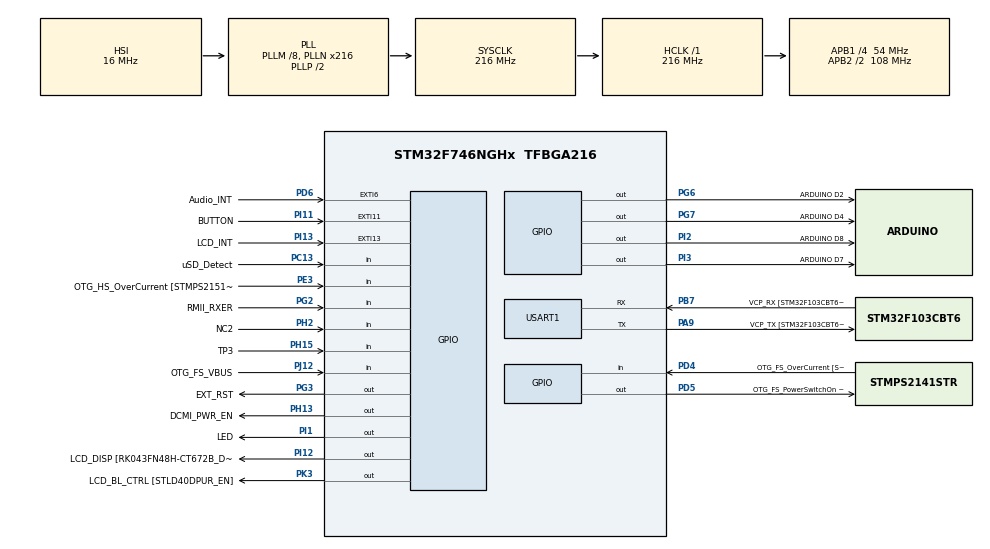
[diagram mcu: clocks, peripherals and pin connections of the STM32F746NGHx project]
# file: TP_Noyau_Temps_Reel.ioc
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FREERTOS.Tasks01=defaultTask,0,128,StartDefaultTask,Default,NULL,Dynamic,NULL,NULL
Mcu.Family=STM32F7
Mcu.Name=STM32F746NGHx
Mcu.Package=TFBGA216
NVIC.PriorityGroup=NVIC_PRIORITYGROUP_4
NVIC.TIM6_DAC_IRQn=true\:15\:0\:false\:false\:true\:false\:false\:true\:true
NVIC.TimeBase=TIM6_DAC_IRQn
NVIC.TimeBaseIP=TIM6
PA0/WKUP.GPIO_Label=ARDUINO A0
PA0/WKUP.GPIO_Mode=GPIO_MODE_ANALOG
PA0/WKUP.GPIO_PuPd=GPIO_NOPULL
PA0/WKUP.Signal=ADCx_IN0
PA1.GPIO_Label=RMII_REF_CLK [LAN8742A-CZ-TR_REFCLK0]
PA1.Signal=ETH_REF_CLK
PA10.GPIO_Label=OTG_FS_ID
PA10.Signal=USB_OTG_FS_ID
PA11.GPIO_Label=OTG_FS_N
PA11.Signal=USB_OTG_FS_DM
PA12.GPIO_Label=OTG_FS_P
PA12.Signal=USB_OTG_FS_DP
PA13.GPIO_Label=SWDIO
PA13.Mode=Serial_Wire
PA13.Signal=SYS_JTMS-SWDIO
PA14.GPIO_Label=SWCLK
PA14.Mode=Serial_Wire
PA14.Signal=SYS_JTCK-SWCLK
PA15.GPIO_Label=ARDUINO PWM/D9
PA15.GPIO_ModeDefaultPP=GPIO_MODE_AF_PP
PA15.GPIO_PuPd=GPIO_NOPULL
PA15.GPIO_Speed=GPIO_SPEED_FREQ_LOW
PA15.Signal=S_TIM2_CH1_ETR
PA2.GPIO_Label=RMII_MDIO [LAN8742A-CZ-TR_MDIO]
PA2.Signal=ETH_MDIO
PA3.GPIO_Label=ULPI_D0 [USB3320C-EZK_D0]
PA3.Signal=USB_OTG_HS_ULPI_D0
PA4.GPIO_Label=DCMI_HSYNC
PA4.Signal=DCMI_HSYNC
PA5.GPIO_Label=ULPI_CLK [USB3320C-EZK_CLKOUT]
PA5.Signal=USB_OTG_HS_ULPI_CK
PA6.Signal=DCMI_PIXCLK
PA7.GPIO_Label=RMII_CRS_DV [LAN8742A-CZ-TR_CRS_DV]
PA7.Signal=ETH_CRS_DV
PA8.GPIO_Label=ARDUINO PWM/D10
PA8.GPIO_ModeDefaultPP=GPIO_MODE_AF_PP
PA8.GPIO_PuPd=GPIO_NOPULL
PA8.GPIO_Speed=GPIO_SPEED_FREQ_LOW
PA8.Signal=S_TIM1_CH1
PA9.GPIO_Label=VCP_TX [STM32F103CBT6_PA3]
PA9.GPIO_Mode=GPIO_MODE_AF_PP
PA9.GPIO_PuPd=GPIO_NOPULL
PA9.GPIO_Speed=GPIO_SPEED_FREQ_LOW
PA9.Mode=Asynchronous
PA9.Signal=USART1_TX
PB0.GPIO_Label=ULPI_D1 [USB3320C-EZK_D1]
PB0.Signal=USB_OTG_HS_ULPI_D1
PB1.GPIO_Label=ULPI_D2 [USB3320C-EZK_D2]
PB1.Signal=USB_OTG_HS_ULPI_D2
PB10.GPIO_Label=ULPI_D3 [USB3320C-EZK_D3]
PB10.Signal=USB_OTG_HS_ULPI_D3
PB11.GPIO_Label=ULPI_D4 [USB3320C-EZK_D4]
PB11.Signal=USB_OTG_HS_ULPI_D4
PB12.GPIO_Label=ULPI_D5 [USB3320C-EZK_D5]
PB12.Signal=USB_OTG_HS_ULPI_D5
PB13.GPIO_Label=ULPI_D6 [USB3320C-EZK_D6]
PB13.Signal=USB_OTG_HS_ULPI_D6
PB14.GPIO_Label=ARDUINO MISO/D12
PB14.GPIO_Mode=GPIO_MODE_AF_PP
PB14.GPIO_PuPd=GPIO_NOPULL
PB14.GPIO_Speed=GPIO_SPEED_FREQ_LOW
PB14.Signal=SPI2_MISO
PB15.GPIO_Label=ARDUINO MOSI/PWM/D11
PB15.GPIO_Mode=GPIO_MODE_AF_PP
PB15.GPIO_PuPd=GPIO_NOPULL
PB15.GPIO_Speed=GPIO_SPEED_FREQ_LOW
PB15.Signal=SPI2_MOSI
PB2.Signal=QUADSPI_CLK
PB3.GPIO_Label=SWO
PB3.Signal=SYS_JTDO-SWO
PB4.GPIO_Label=ARDUINO PWM/D3
PB4.GPIO_ModeDefaultPP=GPIO_MODE_AF_PP
PB4.GPIO_PuPd=GPIO_NOPULL
PB4.GPIO_Speed=GPIO_SPEED_FREQ_LOW
PB4.Signal=S_TIM3_CH1
PB5.GPIO_Label=ULPI_D7 [USB3320C-EZK_D7]
PB5.Signal=USB_OTG_HS_ULPI_D7
PB6.GPIO_Label=QSPI_NCS [N25Q128A13EF840E_S]
PB6.Signal=QUADSPI_BK1_NCS
PB7.GPIO_Label=VCP_RX [STM32F103CBT6_PA2]
PB7.GPIO_Mode=GPIO_MODE_AF_PP
PB7.GPIO_PuPd=GPIO_NOPULL
PB7.GPIO_Speed=GPIO_SPEED_FREQ_LOW
PB7.Mode=Asynchronous
PB7.Signal=USART1_RX
PB8.GPIO_Label=ARDUINO SCL/D15
PB8.GPIO_Mode=GPIO_MODE_AF_OD
PB8.GPIO_PuPd=GPIO_NOPULL
PB8.GPIO_Speed=GPIO_SPEED_FREQ_LOW
PB8.Signal=I2C1_SCL
PB9.GPIO_Label=ARDUINO SDA/D14
PB9.GPIO_Mode=GPIO_MODE_AF_OD
PB9.GPIO_PuPd=GPIO_NOPULL
PB9.GPIO_Speed=GPIO_SPEED_FREQ_LOW
PB9.Signal=I2C1_SDA
PC0.GPIO_Label=ULPI_STP [USB3320C-EZK_STP]
PC0.Signal=USB_OTG_HS_ULPI_STP
PC1.GPIO_Label=RMII_MDC [LAN8742A-CZ-TR_MDC]
PC1.Signal=ETH_MDC
PC10.GPIO_Label=SDMMC_D2
PC10.Signal=SDMMC1_D2
PC11.GPIO_Label=SDMMC_D3
PC11.Signal=SDMMC1_D3
PC12.GPIO_Label=SDMMC_CK
PC12.Signal=SDMMC1_CK
PC13.GPIO_Label=uSD_Detect
PC13.Signal=GPIO_Input
PC14/OSC32_IN.GPIO_Label=RCC_OSC32_IN
PC14/OSC32_IN.Signal=RCC_OSC32_IN
PC15/OSC32_OUT.GPIO_Label=RCC_OSC32_OUT
PC15/OSC32_OUT.Signal=RCC_OSC32_OUT
PC2.GPIO_Label=ULPI_DIR [USB3320C-EZK_DIR]
PC2.Signal=USB_OTG_HS_ULPI_DIR
PC3.GPIO_Label=FMC_SDCKE0 [MT48LC4M32B2B5-6A_CKE]
PC3.Signal=FMC_SDCKE0
PC4.GPIO_Label=RMII_RXD0 [LAN8742A-CZ-TR_RXD0]
PC4.Signal=ETH_RXD0
PC5.GPIO_Label=RMII_RXD1 [LAN8742A-CZ-TR_RXD1]
PC5.Signal=ETH_RXD1
PC6.GPIO_Label=ARDUINO TX/D1
PC6.Signal=USART6_TX
PC7.GPIO_Label=ARDUINO RX/D0
PC7.Signal=USART6_RX
PC8.Signal=SDMMC1_D0
PC9.Signal=SDMMC1_D1
PD0.GPIO_Label=FMC_D2 [MT48LC4M32B2B5-6A_DQ2]
PD0.Signal=FMC_D2_DA2
PD1.GPIO_Label=FMC_D3 [MT48LC4M32B2B5-6A_DQ3]
PD1.Signal=FMC_D3_DA3
PD10.GPIO_Label=FMC_D15 [MT48LC4M32B2B5-6A_DQ15]
PD10.Signal=FMC_D15_DA15
PD11.GPIO_Label=QSPI_D0 [N25Q128A13EF840E_DQ0]
PD11.Signal=QUADSPI_BK1_IO0
PD12.GPIO_Label=QSPI_D1 [N25Q128A13EF840E_DQ1]
PD12.Signal=QUADSPI_BK1_IO1
PD13.GPIO_Label=QSPI_D3 [N25Q128A13EF840E_DQ3]
PD13.Signal=QUADSPI_BK1_IO3
PD14.GPIO_Label=FMC_D0 [MT48LC4M32B2B5-6A_DQ0]
PD14.Signal=FMC_D0_DA0
PD15.GPIO_Label=FMC_D1 [MT48LC4M32B2B5-6A_DQ1]
PD15.Signal=FMC_D1_DA1
PD2.GPIO_Label=SDMMC_D0
PD2.Signal=SDMMC1_CMD
PD3.GPIO_Label=DCMI_D5
PD3.Signal=DCMI_D5
PD4.GPIO_Label=OTG_FS_OverCurrent [STMPS2141STR_Fault]
PD4.Signal=GPIO_Input
PD5.GPIO_Label=OTG_FS_PowerSwitchOn [STMPS2141STR_EN]
PD5.PinState=GPIO_PIN_SET
PD5.Signal=GPIO_Output
PD6.GPIO_Label=Audio_INT
PD6.GPIO_ModeDefaultEXTI=GPIO_MODE_EVT_RISING
PD6.Signal=GPXTI6
PD7.GPIO_Label=SPDIF_RX0 [74LVC1G04SE_4]
PD7.Signal=SPDIFRX_IN0
PD8.GPIO_Label=FMC_D13 [MT48LC4M32B2B5-6A_DQ13]
PD8.Signal=FMC_D13_DA13
PD9.GPIO_Label=FMC_D14 [MT48LC4M32B2B5-6A_DQ14]
PD9.Signal=FMC_D14_DA14
PE0.GPIO_Label=FMC_NBL0 [MT48LC4M32B2B5-6A_DQM0]
PE0.Signal=FMC_NBL0
PE1.GPIO_Label=FMC_NBL1 [MT48LC4M32B2B5-6A_DQM1]
PE1.Signal=FMC_NBL1
PE10.GPIO_Label=FMC_D7 [MT48LC4M32B2B5-6A_DQ7]
PE10.Signal=FMC_D7_DA7
PE11.GPIO_Label=FMC_D8 [MT48LC4M32B2B5-6A_DQ8]
PE11.Signal=FMC_D8_DA8
PE12.GPIO_Label=FMC_D9 [MT48LC4M32B2B5-6A_DQ9]
PE12.Signal=FMC_D9_DA9
PE13.GPIO_Label=FMC_D10 [MT48LC4M32B2B5-6A_DQ10]
PE13.Signal=FMC_D10_DA10
PE14.GPIO_Label=FMC_D11 [MT48LC4M32B2B5-6A_DQ11]
PE14.Signal=FMC_D11_DA11
PE15.GPIO_Label=FMC_D12 [MT48LC4M32B2B5-6A_DQ12]
PE15.Signal=FMC_D12_DA12
PE2.GPIO_Label=QSPI_D2 [N25Q128A13EF840E_DQ2]
PE2.Signal=QUADSPI_BK1_IO2
PE3.GPIO_Label=OTG_HS_OverCurrent [STMPS2151STR_FAULT]
PE3.Signal=GPIO_Input
PE4.GPIO_Label=LCD_B0 [RK043FN48H-CT672B_B0]
PE4.Signal=LTDC_B0
PE5.GPIO_Label=DCMI_D6
PE5.Signal=DCMI_D6
PE6.GPIO_Label=DCMI_D7
PE6.Signal=DCMI_D7
PE7.GPIO_Label=FMC_D4 [MT48LC4M32B2B5-6A_DQ4]
PE7.Signal=FMC_D4_DA4
PE8.GPIO_Label=FMC_D5 [MT48LC4M32B2B5-6A_DQ5]
PE8.Signal=FMC_D5_DA5
PE9.GPIO_Label=FMC_D6 [MT48LC4M32B2B5-6A_DQ6]
PE9.Signal=FMC_D6_DA6
PF0.GPIO_Label=FMC_A0 [MT48LC4M32B2B5-6A_A0]
PF0.Signal=FMC_A0
PF1.GPIO_Label=FMC_A1 [MT48LC4M32B2B5-6A_A1]
PF1.Signal=FMC_A1
PF10.GPIO_Label=ARDUINO A1
PF10.GPIO_Mode=GPIO_MODE_ANALOG
PF10.GPIO_PuPd=GPIO_NOPULL
PF10.Signal=ADC3_IN8
PF11.GPIO_Label=FMC_SDNRAS [MT48LC4M32B2B5-6A_RAS]
PF11.Signal=FMC_SDNRAS
PF12.GPIO_Label=FMC_A6 [MT48LC4M32B2B5-6A_A6]
PF12.Signal=FMC_A6
PF13.GPIO_Label=FMC_A7 [MT48LC4M32B2B5-6A_A7]
PF13.Signal=FMC_A7
PF14.GPIO_Label=FMC_A8 [MT48LC4M32B2B5-6A_A8]
PF14.Signal=FMC_A8
PF15.GPIO_Label=FMC_A9 [MT48LC4M32B2B5-6A_A9]
PF15.Signal=FMC_A9
PF2.GPIO_Label=FMC_A2 [MT48LC4M32B2B5-6A_A2]
PF2.Signal=FMC_A2
PF3.GPIO_Label=FMC_A3 [MT48LC4M32B2B5-6A_A3]
PF3.Signal=FMC_A3
PF4.GPIO_Label=FMC_A4 [MT48LC4M32B2B5-6A_A4]
PF4.Signal=FMC_A4
PF5.GPIO_Label=FMC_A5 [MT48LC4M32B2B5-6A_A5]
PF5.Signal=FMC_A5
PF6.GPIO_Label=ARDUINO A5
PF6.GPIO_Mode=GPIO_MODE_ANALOG
PF6.GPIO_PuPd=GPIO_NOPULL
PF6.Signal=ADC3_IN4
PF7.GPIO_Label=ARDUINO A4
PF7.GPIO_Mode=GPIO_MODE_ANALOG
PF7.GPIO_PuPd=GPIO_NOPULL
PF7.Signal=ADC3_IN5
PF8.GPIO_Label=ARDUINO A3
PF8.GPIO_Mode=GPIO_MODE_ANALOG
PF8.GPIO_PuPd=GPIO_NOPULL
PF8.Signal=ADC3_IN6
PF9.GPIO_Label=ARDUINO A2
PF9.GPIO_Mode=GPIO_MODE_ANALOG
PF9.GPIO_PuPd=GPIO_NOPULL
PF9.Signal=ADC3_IN7
PG0.GPIO_Label=FMC_A10 [MT48LC4M32B2B5-6A_A10]
PG0.Signal=FMC_A10
PG1.GPIO_Label=FMC_A11 [MT48LC4M32B2B5-6A_A11]
PG1.Signal=FMC_A11
PG10.GPIO_Label=SAI2_SDB [WM8994ECS/R_ADCDAT1]
PG10.Signal=SAI2_SD_B
PG11.GPIO_Label=RMII_TX_EN [LAN8742A-CZ-TR_TXEN]
PG11.Signal=ETH_TX_EN
PG12.GPIO_Label=LCD_B4 [RK043FN48H-CT672B_B4]
PG12.Signal=LTDC_B4
PG13.GPIO_Label=RMII_TXD0 [LAN8742A-CZ-TR_TXD0]
PG13.Signal=ETH_TXD0
PG14.GPIO_Label=RMII_TXD1 [LAN8742A-CZ-TR_TXD1]
PG14.Signal=ETH_TXD1
PG15.GPIO_Label=FMC_SDNCAS [MT48LC4M32B2B5-6A_CAS]
PG15.Signal=FMC_SDNCAS
PG2.GPIO_Label=RMII_RXER
PG2.Signal=GPIO_Input
PG3.GPIO_Label=EXT_RST
PG3.Signal=GPIO_Output
PG4.GPIO_Label=FMC_BA0 [MT48LC4M32B2B5-6A_BA0]
PG4.Signal=FMC_A14_BA0
PG5.GPIO_Label=FMC_BA1 [MT48LC4M32B2B5-6A_BA1]
PG5.Signal=FMC_A15_BA1
PG6.GPIO_Label=ARDUINO D2
PG6.Signal=GPIO_Output
PG7.GPIO_Label=ARDUINO D4
PG7.Signal=GPIO_Output
PG8.GPIO_Label=FMC_SDCLK [MT48LC4M32B2B5-6A_CLK]
PG8.Signal=FMC_SDCLK
PG9.GPIO_Label=DCMI_VSYNC
PG9.Signal=DCMI_VSYNC
PH0/OSC_IN.GPIO_Label=OSC_25M [NZ2520SB-25.00M_OUT]
PH0/OSC_IN.Mode=HSE-External-Oscillator
PH0/OSC_IN.Signal=RCC_OSC_IN
PH1/OSC_OUT.Mode=HSE-External-Oscillator
PH1/OSC_OUT.Signal=RCC_OSC_OUT
PH10.GPIO_Label=DCMI_D1
PH10.Signal=DCMI_D1
PH11.GPIO_Label=DCMI_D2
PH11.Signal=DCMI_D2
PH12.GPIO_Label=DCMI_D3
PH12.Signal=DCMI_D3
PH13.GPIO_Label=DCMI_PWR_EN
PH13.Signal=GPIO_Output
PH14.GPIO_Label=DCMI_D4
PH14.Signal=DCMI_D4
PH15.GPIO_Label=TP3
PH15.Signal=GPIO_Input
PH2.GPIO_Label=NC2
PH2.Signal=GPIO_Input
PH3.GPIO_Label=FMC_SDNE0 [MT48LC4M32B2B5-6A_CS]
PH3.Signal=FMC_SDNE0
PH4.GPIO_Label=ULPI_NXT [USB3320C-EZK_NXT]
PH4.Signal=USB_OTG_HS_ULPI_NXT
PH5.GPIO_Label=FMC_SDNME [MT48LC4M32B2B5-6A_WE]
PH5.Signal=FMC_SDNWE
PH6.GPIO_Label=ARDUINO PWM/D6
PH6.Signal=S_TIM12_CH1
PH7.GPIO_Label=LCD_SCL [RK043FN48H-CT672B_SCL]
PH7.Signal=I2C3_SCL
PH8.GPIO_Label=LCD_SDA [RK043FN48H-CT672B_SDA]
PH8.Signal=I2C3_SDA
PH9.GPIO_Label=DCMI_D0
PH9.Signal=DCMI_D0
PI0.GPIO_Label=ARDUINO PWM/CS/D5
PI0.GPIO_ModeDefaultPP=GPIO_MODE_AF_PP
PI0.GPIO_PuPd=GPIO_NOPULL
PI0.GPIO_Speed=GPIO_SPEED_FREQ_LOW
PI0.Signal=S_TIM5_CH4
PI1.GPIO_Label=LED
PI1.Signal=GPIO_Output
PI10.GPIO_Label=LCD_HSYNC [RK043FN48H-CT672B_HSYNC]
PI10.Signal=LTDC_HSYNC
PI11.GPIO_Label=BUTTON
PI11.Signal=GPXTI11
PI12.GPIO_Label=LCD_DISP [RK043FN48H-CT672B_DISP] 
PI12.Signal=GPIO_Output
PI13.GPIO_Label=LCD_INT
PI13.GPIO_ModeDefaultEXTI=GPIO_MODE_EVT_RISING
PI13.Signal=GPXTI13
PI14.GPIO_Label=LCD_CLK [RK043FN48H-CT672B_CLK]
PI14.Signal=LTDC_CLK
PI15.GPIO_Label=LCD_R0 [RK043FN48H-CT672B_R0]
PI15.Signal=LTDC_R0
PI2.GPIO_Label=ARDUINO D8
PI2.Signal=GPIO_Output
PI3.GPIO_Label=ARDUINO D7
PI3.Signal=GPIO_Output
PI4.GPIO_Label=SAI2_MCLKA [WM8994ECS/R_MCLK1]
PI4.Signal=SAI2_MCLK_A
PI5.GPIO_Label=SAI2_SCKA [WM8994ECS/R_BCLK1]
PI5.Signal=SAI2_SCK_A
PI6.GPIO_Label=SAI2_SDA [WM8994ECS/R_DACDAT1]
PI6.Signal=SAI2_SD_A
PI7.GPIO_Label=SAI2_FSA [WM8994ECS/R_LRCLK1]
PI7.Signal=SAI2_FS_A
PI8.GPIO_Label=NC1 [TP2]
PI8.Signal=RTC_TS
PI9.GPIO_Label=LCD_VSYNC [RK043FN48H-CT672B_VSYNC]
PI9.Signal=LTDC_VSYNC
PJ0.GPIO_Label=LCD_R1 [RK043FN48H-CT672B_R1]
PJ0.Signal=LTDC_R1
PJ1.GPIO_Label=LCD_R2 [RK043FN48H-CT672B_R2]
PJ1.Signal=LTDC_R2
PJ10.GPIO_Label=LCD_G3 [RK043FN48H-CT672B_G3]
PJ10.Signal=LTDC_G3
PJ11.GPIO_Label=LCD_G4 [RK043FN48H-CT672B_G4]
PJ11.Signal=LTDC_G4
PJ12.GPIO_Label=OTG_FS_VBUS
PJ12.Signal=GPIO_Input
PJ13.GPIO_Label=LCD_B1 [RK043FN48H-CT672B_B1]
PJ13.Signal=LTDC_B1
PJ14.GPIO_Label=LCD_B2 [RK043FN48H-CT672B_B2]
PJ14.Signal=LTDC_B2
PJ15.GPIO_Label=LCD_B3 [RK043FN48H-CT672B_B3]
PJ15.Signal=LTDC_B3
PJ2.GPIO_Label=LCD_R3 [RK043FN48H-CT672B_R3]
PJ2.Signal=LTDC_R3
PJ3.GPIO_Label=LCD_R4 [RK043FN48H-CT672B_R4]
PJ3.Signal=LTDC_R4
PJ4.GPIO_Label=LCD_R5 [RK043FN48H-CT672B_R5]
PJ4.Signal=LTDC_R5
PJ5.GPIO_Label=LCD_R6 [RK043FN48H-CT672B_R6]
PJ5.Signal=LTDC_R6
PJ6.GPIO_Label=LCD_R7 [RK043FN48H-CT672B_R7]
PJ6.Signal=LTDC_R7
PJ7.GPIO_Label=LCD_G0 [RK043FN48H-CT672B_G0]
PJ7.Signal=LTDC_G0
PJ8.GPIO_Label=LCD_G1 [RK043FN48H-CT672B_G1]
PJ8.Signal=LTDC_G1
PJ9.GPIO_Label=LCD_G2 [RK043FN48H-CT672B_G2]
PJ9.Signal=LTDC_G2
PK0.GPIO_Label=LCD_G5 [RK043FN48H-CT672B_G5]
PK0.Signal=LTDC_G5
PK1.GPIO_Label=LCD_G6 [RK043FN48H-CT672B_G6]
PK1.Signal=LTDC_G6
PK2.GPIO_Label=LCD_G7 [RK043FN48H-CT672B_G7]
PK2.Signal=LTDC_G7
PK3.GPIO_Label=LCD_BL_CTRL [STLD40DPUR_EN]
PK3.Signal=GPIO_Output
PK4.GPIO_Label=LCD_B5 [RK043FN48H-CT672B_B5]
PK4.Signal=LTDC_B5
PK5.GPIO_Label=LCD_B6 [RK043FN48H-CT672B_B6]
PK5.Signal=LTDC_B6
PK6.GPIO_Label=LCD_B7 [RK043FN48H-CT672B_B7]
PK6.Signal=LTDC_B7
PK7.GPIO_Label=LCD_DE [RK043FN48H-CT672B_DE]
PK7.Signal=LTDC_DE
ProjectManager.HeapSize=0x200
ProjectManager.StackSize=0x400
ProjectManager.TargetToolchain=STM32CubeIDE
RCC.AHBFreq_Value=216000000
RCC.APB1CLKDivider=RCC_HCLK_DIV4
RCC.APB1Freq_Value=54000000
RCC.APB1TimFreq_Value=108000000
RCC.APB2CLKDivider=RCC_HCLK_DIV2
RCC.APB2Freq_Value=108000000
RCC.APB2TimFreq_Value=216000000
RCC.CortexFreq_Value=216000000
RCC.HCLKFreq_Value=216000000
RCC.HSE_VALUE=25000000
RCC.HSI_VALUE=16000000
RCC.LSE_VALUE=32768
RCC.PLLM=8
RCC.PLLN=216
RCC.PLLSourceVirtual=RCC_PLLSOURCE_HSI
RCC.SYSCLKFreq_VALUE=216000000
RCC.SYSCLKSource=RCC_SYSCLKSOURCE_PLLCLK
RCC.USBFreq_Value=216000000
RCC.VCOOutputFreq_Value=432000000
SH.ADCx_IN0.0=ADC3_IN0
SH.FMC_A0.0=FMC_A0
SH.FMC_A1.0=FMC_A1
SH.FMC_A10.0=FMC_A10
SH.FMC_A11.0=FMC_A11
SH.FMC_A14_BA0.0=FMC_BA0
SH.FMC_A15_BA1.0=FMC_BA1
SH.FMC_A2.0=FMC_A2
SH.FMC_A3.0=FMC_A3
SH.FMC_A4.0=FMC_A4
SH.FMC_A5.0=FMC_A5
SH.FMC_A6.0=FMC_A6
SH.FMC_A7.0=FMC_A7
SH.FMC_A8.0=FMC_A8
SH.FMC_A9.0=FMC_A9
SH.FMC_D0_DA0.0=FMC_D0
SH.FMC_D10_DA10.0=FMC_D10
SH.FMC_D11_DA11.0=FMC_D11
SH.FMC_D12_DA12.0=FMC_D12
SH.FMC_D13_DA13.0=FMC_D13
SH.FMC_D14_DA14.0=FMC_D14
SH.FMC_D15_DA15.0=FMC_D15
SH.FMC_D1_DA1.0=FMC_D1
SH.FMC_D2_DA2.0=FMC_D2
SH.FMC_D3_DA3.0=FMC_D3
SH.FMC_D4_DA4.0=FMC_D4
SH.FMC_D5_DA5.0=FMC_D5
SH.FMC_D6_DA6.0=FMC_D6
SH.FMC_D7_DA7.0=FMC_D7
SH.FMC_D8_DA8.0=FMC_D8
SH.FMC_D9_DA9.0=FMC_D9
SH.FMC_NBL0.0=FMC_NBL0
SH.FMC_NBL1.0=FMC_NBL1
SH.FMC_SDCLK.0=FMC_SDCLK
SH.FMC_SDNCAS.0=FMC_SDNCAS
SH.FMC_SDNRAS.0=FMC_SDNRAS
SH.FMC_SDNWE.0=FMC_SDNWE
SH.S_TIM12_CH1.0=TIM12_CH1
SH.S_TIM1_CH1.0=TIM1_CH1
SH.S_TIM2_CH1_ETR.0=TIM2_CH1
SH.S_TIM3_CH1.0=TIM3_CH1
SH.S_TIM5_CH4.0=TIM5_CH4
USART1.VirtualMode-Asynchronous=VM_ASYNC
VP_FREERTOS_VS_CMSIS_V1.Mode=CMSIS_V1
VP_SYS_VS_tim6.Mode=TIM6
board=STM32F746G-DISCO

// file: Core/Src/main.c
/* USER CODE BEGIN Header */
/**
 ******************************************************************************
 * @file           : main.c
 * @brief          : Main program body
 ******************************************************************************
 * @attention
 *
 * Copyright (c) 2024 STMicroelectronics.
 * All rights reserved.
 *
 * This software is licensed under terms that can be found in the LICENSE file
 * in the root directory of this software component.
 * If no LICENSE file comes with this software, it is provided AS-IS.
 *
 ******************************************************************************
 */
/* USER CODE END Header */
#include "main.h"
#include "cmsis_os.h"
#include "usart.h"
#include "gpio.h"

void SystemClock_Config(void);
void MX_FREERTOS_Init(void);

/* USER CODE BEGIN 0 */
// Déclaration d'une variable globale pour indiquer la réception de données UART
uint8_t uart_rx_flag = 0;

// Fonction de sortie de caractères utilisée par HAL pour transmettre des caractères sur l'UART
int __io_putchar(int ch) {
	// Transmet le caractère sur l'UART1 avec HAL_UART_Transmit
	HAL_UART_Transmit(&huart1, (uint8_t *)&ch, 1, HAL_MAX_DELAY);
	return ch;
}

// Fonction de rappel appelée lorsque la réception UART est terminée
void HAL_UART_RxCpltCallback(UART_HandleTypeDef *huart){
	// Met à jour le drapeau pour indiquer que des données ont été reçues
	uart_rx_flag = 1;
}

// Tâche pour faire clignoter une LED à intervalles réguliers
void task_blink_led(void * unused) {
	char *text = "LED ON\r\n";
	//int Val=0;
	while (1) {
		// Alterne l'état de la LED avec HAL_GPIO_TogglePin
		HAL_GPIO_TogglePin(LED_GPIO_Port, LED_Pin);

		// Vérifie l'état de la LED pour déterminer le texte à afficher
		if (HAL_GPIO_ReadPin(LED_GPIO_Port, LED_Pin) == GPIO_PIN_SET) {
			text = "LED ON\r\n";
		} else {
			text = "LED OFF\r\n";
		}

		// Affiche le texte sur l'UART
		for (int i = 0; text[i] != '\0'; i++) {
			__io_putchar(text[i]);
		}
		portTICK_PERIOD_MS()
		// Suspend l'exécution de la tâche pendant 1000 millisecondes
		vTaskDelay(1000);
	}
}

/* USER CODE END 0 */

int main(void)
{

	/* MCU Configuration--------------------------------------------------------*/

	/* Reset of all peripherals, Initializes the Flash interface and the Systick. */
	HAL_Init();

	/* Configure the system clock */
	SystemClock_Config();

	/* Initialize all configured peripherals */
	MX_GPIO_Init();
	MX_USART1_UART_Init();
	/* USER CODE BEGIN 2 */
	//Début du code utilisateur

	TaskHandle_t handle_blink_led; // Déclaration du gestionnaire de tâche pour la tâche "Blink LED"
	//TaskHandle_t handle_uart;      // Déclaration du gestionnaire de tâche pour la tâche "UART"

	/* 1ère Tâche créée */
	// Crée une tâche pour faire clignoter la LED
	xTaskCreate(
			task_blink_led,    // Fonction de la tâche
			"Blink LED",       // Nom de la tâche
			256,               // Taille de la pile en mots 32 bits
			NULL,              // Paramètre de la tâche (non utilisé dans cet exemple)
			3,                 // Priorité de la tâche
			&handle_blink_led  // Pointeur vers la variable de gestion de tâche pour récupérer le handle de la tâche
	);

	// Démarre le planificateur de tâches FreeRTOS
	vTaskStartScheduler();
	//Ne rien écrire après cette ligne

	/* USER CODE END 2 */

	/* Call init function for freertos objects (in freertos.c) */
	MX_FREERTOS_Init();

	/* Start scheduler */
	osKernelStart();

	/* We should never get here as control is now taken by the scheduler */
	/* Infinite loop */
	while (1)
	{

	}
}

void SystemClock_Config(void)
{
	RCC_OscInitTypeDef RCC_OscInitStruct = {0};
	RCC_ClkInitTypeDef RCC_ClkInitStruct = {0};

	/** Configure the main internal regulator output voltage
	 */
	__HAL_RCC_PWR_CLK_ENABLE();
	__HAL_PWR_VOLTAGESCALING_CONFIG(PWR_REGULATOR_VOLTAGE_SCALE1);

	/** Initializes the RCC Oscillators according to the specified parameters
	 * in the RCC_OscInitTypeDef structure.
	 */
	RCC_OscInitStruct.OscillatorType = RCC_OSCILLATORTYPE_HSI;
	RCC_OscInitStruct.HSIState = RCC_HSI_ON;
	RCC_OscInitStruct.HSICalibrationValue = RCC_HSICALIBRATION_DEFAULT;
	RCC_OscInitStruct.PLL.PLLState = RCC_PLL_ON;
	RCC_OscInitStruct.PLL.PLLSource = RCC_PLLSOURCE_HSI;
	RCC_OscInitStruct.PLL.PLLM = 8;
	RCC_OscInitStruct.PLL.PLLN = 216;
	RCC_OscInitStruct.PLL.PLLP = RCC_PLLP_DIV2;
	RCC_OscInitStruct.PLL.PLLQ = 2;
	if (HAL_RCC_OscConfig(&RCC_OscInitStruct) != HAL_OK)
	{
		Error_Handler();
	}

	/** Activate the Over-Drive mode
	 */
	if (HAL_PWREx_EnableOverDrive() != HAL_OK)
	{
		Error_Handler();
	}

	/** Initializes the CPU, AHB and APB buses clocks
	 */
	RCC_ClkInitStruct.ClockType = RCC_CLOCKTYPE_HCLK|RCC_CLOCKTYPE_SYSCLK
			|RCC_CLOCKTYPE_PCLK1|RCC_CLOCKTYPE_PCLK2;
	RCC_ClkInitStruct.SYSCLKSource = RCC_SYSCLKSOURCE_PLLCLK;
	RCC_ClkInitStruct.AHBCLKDivider = RCC_SYSCLK_DIV1;
	RCC_ClkInitStruct.APB1CLKDivider = RCC_HCLK_DIV4;
	RCC_ClkInitStruct.APB2CLKDivider = RCC_HCLK_DIV2;

	if (HAL_RCC_ClockConfig(&RCC_ClkInitStruct, FLASH_LATENCY_7) != HAL_OK)
	{
		Error_Handler();
	}
}

void HAL_TIM_PeriodElapsedCallback(TIM_HandleTypeDef *htim)
{
	if (htim->Instance == TIM6) {
		HAL_IncTick();
	}
}

void Error_Handler(void)
{
	__disable_irq();
	while (1)
	{
	}
}
